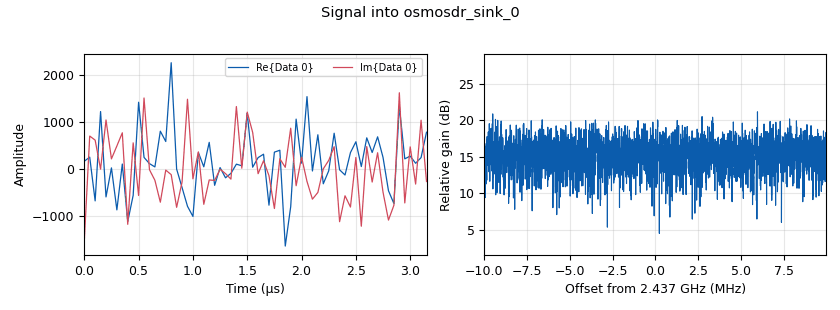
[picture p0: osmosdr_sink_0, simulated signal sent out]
<?xml version='1.0' encoding='utf-8'?>
<?grc format='1' created='3.7.9'?>
<flow_graph>
<block>
<key>options</key>
<param><key>id</key><value>constant_jammer</value></param>
<param><key>author</key><value>kishow</value></param>
<param><key>category</key><value>Custom</value></param>
<param><key>description</key><value>owo</value></param>
<param><key>generate_options</key><value>wx_gui</value></param>
<param><key>title</key><value>Noise TX</value></param>
</block>
<block>
<key>variable</key>
<param><key>id</key><value>samp_rate_0</value></param>
<param><key>value</key><value>20000000</value></param>
</block>
<block>
<key>variable</key>
<param><key>id</key><value>target_freq</value></param>
<param><key>value</key><value>2437000000</value></param>
</block>
<block>
<key>analog_fastnoise_source_x</key>
<param><key>id</key><value>analog_fastnoise_source_x_0</value></param>
<param><key>amp</key><value>1000</value></param>
<param><key>noise_type</key><value>analog.GR_GAUSSIAN</value></param>
<param><key>type</key><value>complex</value></param>
<param><key>seed</key><value>0</value></param>
<param><key>samples</key><value>8192</value></param>
</block>
<block>
<key>osmosdr_sink</key>
<param><key>id</key><value>osmosdr_sink_0</value></param>
<param><key>bb_gain0</key><value>10</value></param>
<param><key>bw0</key><value>20000000</value></param>
<param><key>freq0</key><value>target_freq</value></param>
<param><key>if_gain0</key><value>90</value></param>
<param><key>gain0</key><value>90</value></param>
<param><key>args</key><value></value></param>
<param><key>type</key><value>fc32</value></param>
<param><key>sample_rate</key><value>samp_rate_0</value></param>
<param><key>sync</key><value></value></param>
</block>
<connection><source_block_id>analog_fastnoise_source_x_0</source_block_id><sink_block_id>osmosdr_sink_0</sink_block_id><source_key>0</source_key><sink_key>0</sink_key></connection>
</flow_graph>
